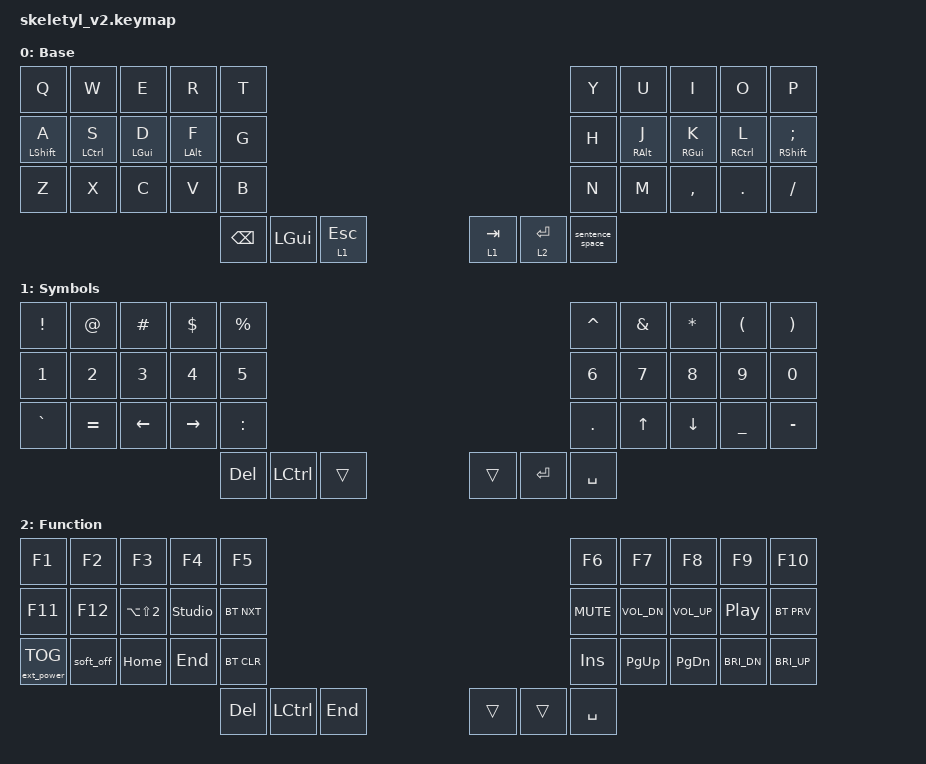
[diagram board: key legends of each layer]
/*
 * Copyright (c) 2020 The ZMK Contributors
 *
 * SPDX-License-Identifier: MIT
 */

#include <behaviors.dtsi>
#include <behaviors/sentence_case.dtsi>
#include <dt-bindings/zmk/bt.h>
#include <dt-bindings/zmk/ext_power.h>
#include <dt-bindings/zmk/keys.h>

/*
 * Skeletyl v3.6 — Kinesis Advantage aligned
 *
 * Thumbs:   Bspc  Cmd  Esc/Sym   |   Tab/Sym  Enter/Fn  Space
 * Combos:   Q+W =   A+S Esc   Z+X `   I+O -   O+P \   L+; '   ,+. [   .+/ ]   (opposite-hand Shift: + ~ _ | " { })
 *           hold A + ; together = Caps Word
 * Kept in sync with the QMK Skeletyl (github.com/axl13/qmk_firmware, keyboards/axl13/my_skeletyl).
 *
 * Key positions (for combos):
 *   0  1  2  3  4      5  6  7  8  9
 *  10 11 12 13 14     15 16 17 18 19
 *  20 21 22 23 24     25 26 27 28 29
 *        30 31 32     33 34 35
 */

#define EURO LA(LS(N2))   // macOS US layout: Option+Shift+2

#define KEYS_L 0 1 2 3 4 10 11 12 13 14 20 21 22 23 24
#define KEYS_R 5 6 7 8 9 15 16 17 18 19 25 26 27 28 29
#define THUMBS 30 31 32 33 34 35

&soft_off {
    hold-time-ms = <2000>; // Only turn off if the key is held for 2 seconds or longer.
};

&lt {
    flavor = "balanced";
    quick-tap-ms = <175>;
};

// Auto-capitalise the first letter after ". " "! " "? " (zmk-sentence-case module)
&sentence_space {
    prior-idle-ms = <2000>;
    release-after-ms = <1000>;
};

/ {
    behaviors {
        // Home-row mods, Kinesis rule: a mod only becomes a hold when the next
        // key is on the OPPOSITE hand (or a thumb). Same-hand keys type letters.
        // Holding past tapping-term still gives the mod for same-hand shortcuts.
        bhm_l: homerow_mods_left {
            compatible = "zmk,behavior-hold-tap";
            #binding-cells = <2>;
            tapping-term-ms = <200>;
            quick-tap-ms = <0>;
            flavor = "balanced";
            bindings = <&kp>, <&kp>;
            hold-trigger-key-positions = <KEYS_R THUMBS>;
            hold-trigger-on-release;
            require-prior-idle-ms = <150>; // QMK Flow Tap: while typing, always a tap
        };

        bhm_r: homerow_mods_right {
            compatible = "zmk,behavior-hold-tap";
            #binding-cells = <2>;
            tapping-term-ms = <200>;
            quick-tap-ms = <0>;
            flavor = "balanced";
            bindings = <&kp>, <&kp>;
            hold-trigger-key-positions = <KEYS_L THUMBS>;
            hold-trigger-on-release;
            require-prior-idle-ms = <150>; // QMK Flow Tap: while typing, always a tap
        };

        // Shift (A and ;) has NO typing window: with one (80 ms was tried) a capital
        // right after a space came out as ";d". Same as the QMK board.
        bhs_l: homerow_shift_left {
            compatible = "zmk,behavior-hold-tap";
            #binding-cells = <2>;
            tapping-term-ms = <200>;
            quick-tap-ms = <0>;
            flavor = "balanced";
            bindings = <&kp>, <&kp>;
            hold-trigger-key-positions = <KEYS_R THUMBS>;
            hold-trigger-on-release;
        };

        bhs_r: homerow_shift_right {
            compatible = "zmk,behavior-hold-tap";
            #binding-cells = <2>;
            tapping-term-ms = <200>;
            quick-tap-ms = <0>;
            flavor = "balanced";
            bindings = <&kp>, <&kp>;
            hold-trigger-key-positions = <KEYS_L THUMBS>;
            hold-trigger-on-release;
        };

        // Used only by combo_caps: HOLDING A and ; together turns on Caps Word
        // (QMK: BOTH_SHIFTS_TURNS_ON_CAPS_WORD). Tapped, it sends ':' which is
        // what Shift + ; gives anyway.
        cw_ht: caps_word_hold {
            compatible = "zmk,behavior-hold-tap";
            #binding-cells = <2>;
            tapping-term-ms = <200>;
            flavor = "tap-preferred";
            bindings = <&caps_word>, <&kp>;
        };
    };

    combos {
        compatible = "zmk,combos";

        // Kinesis positions. Shift on the OPPOSITE hand gives the pair:
        //   left  combos + hold ;   Q+W = (+)    Z+X ` (~)
        //   right combos + hold A   I+O - (_)    O+P \ (|)    L+; ' (")    ,+. [ ({)    .+/ ] (})
        combo_eql  { key-positions = <0 1>;   bindings = <&kp EQUAL>; layers = <0>; timeout-ms = <40>; };
        // A+S = Esc; same 25 ms window as I+O so rolls through "as" stay letters
        combo_esc  { key-positions = <10 11>; bindings = <&kp ESCAPE>; layers = <0>; timeout-ms = <25>; };
        // A + ; held together = Caps Word. The one non-adjacent combo: it mirrors the
        // QMK "both Shifts" gesture. Only after a 150 ms pause, so typing is not delayed.
        combo_caps { key-positions = <10 19>; bindings = <&cw_ht 0 COLON>; layers = <0>; timeout-ms = <40>; require-prior-idle-ms = <150>; };
        combo_grv  { key-positions = <20 21>; bindings = <&kp GRAVE>; layers = <0>; timeout-ms = <40>; };
        // I+O fires only on a near-simultaneous press (25 ms) so rolls through "io" stay letters
        combo_mins { key-positions = <7 8>;   bindings = <&kp MINUS>; layers = <0>; timeout-ms = <25>; };
        combo_bslh { key-positions = <8 9>;   bindings = <&kp BSLH>;  layers = <0>; timeout-ms = <40>; require-prior-idle-ms = <150>; };
        combo_sqt  { key-positions = <18 19>; bindings = <&kp SQT>;   layers = <0>; timeout-ms = <40>; };
        combo_lbkt { key-positions = <27 28>; bindings = <&kp LBKT>;  layers = <0>; timeout-ms = <40>; };
        combo_rbkt { key-positions = <28 29>; bindings = <&kp RBKT>;  layers = <0>; timeout-ms = <40>; require-prior-idle-ms = <150>; };
    };

    keymap {
        compatible = "zmk,keymap";

        base_layer {
            display-name = "Base";
            bindings = <
&kp Q              &kp W         &kp E          &kp R         &kp T           &kp Y      &kp U        &kp I        &kp O         &kp P
&bhs_l LSHFT A     &bhm_l LCTRL S &bhm_l LGUI D  &bhm_l LALT F   &kp G           &kp H      &bhm_r RALT J &bhm_r RGUI K &bhm_r RCTRL L &bhs_r RSHFT SEMI
&kp Z              &kp X         &kp C          &kp V         &kp B           &kp N      &kp M        &kp COMMA    &kp PERIOD    &kp SLASH
                                 &kp BACKSPACE  &kp LEFT_GUI  &lt 1 ESCAPE    &lt 1 TAB  &lt 2 ENTER  &sentence_space
            >;
        };

        symbols_layer {
            display-name = "Symbols";
            bindings = <
&kp EXCL   &kp AT     &kp HASH    &kp DLLR    &kp PRCNT    &kp CARET  &kp AMPS   &kp ASTRK  &kp LPAR   &kp RPAR
&kp N1     &kp N2     &kp N3      &kp N4      &kp N5       &kp N6     &kp N7     &kp N8     &kp N9     &kp N0
&kp GRAVE  &kp EQUAL  &kp LEFT    &kp RIGHT   &kp COLON    &kp DOT    &kp UP     &kp DOWN   &kp UNDER  &kp MINUS
                      &kp DELETE  &kp LCTRL   &trans       &trans     &kp ENTER  &kp SPACE
            >;
        };

        function_layer {
            display-name = "Function";
            bindings = <
&kp F1            &kp F2        &kp F3      &kp F4          &kp F5        &kp F6      &kp F7        &kp F8        &kp F9        &kp F10
&kp F11           &kp F12       &kp EURO    &studio_unlock  &bt BT_NXT    &kp C_MUTE  &kp C_VOL_DN  &kp C_VOL_UP  &kp C_PP      &bt BT_PRV
&ext_power EP_TOG &soft_off     &kp HOME    &kp END         &bt BT_CLR    &kp INS     &kp PG_UP     &kp PG_DN     &kp C_BRI_DN  &kp C_BRI_UP
                                &kp DELETE  &kp LCTRL       &kp END       &trans      &trans        &kp SPACE
            >;
        };

        studio_layer {
            display-name = "Extra";
            status = "reserved";
        };
    };
};
